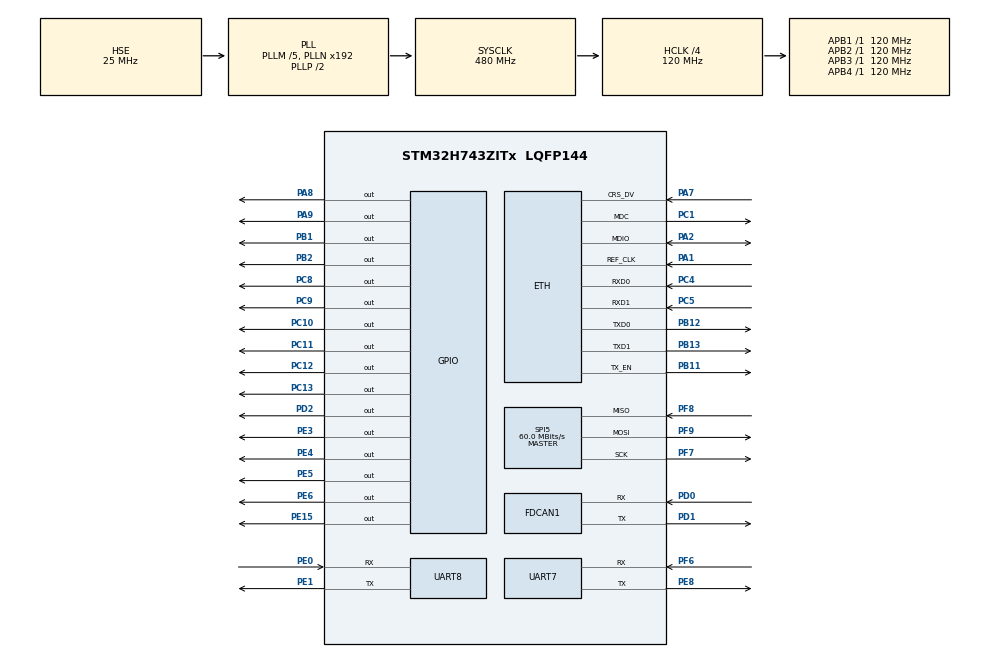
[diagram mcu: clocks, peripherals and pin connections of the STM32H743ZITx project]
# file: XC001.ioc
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CORTEX_M7.default_mode_Activation=1
ETH.MediaInterface=HAL_ETH_RMII_MODE
FDCAN1.CalculateBaudRateNominal=2500000
FDCAN1.CalculateTimeBitNominal=400
FDCAN1.CalculateTimeQuantumNominal=133.33333333333334
FREERTOS.Tasks01=defaultTask,24,2048,StartDefaultTask,Default,NULL,Dynamic,NULL,NULL
LWIP.BSP.number=1
LWIP.GATEWAY_ADDRESS=192.168.001.001
LWIP.IP_ADDRESS=192.168.001.010
LWIP.LWIP_DHCP=0
LWIP.NETMASK_ADDRESS=255.255.255.000
LWIP.Version=v2.2.1_Cube
LWIP0.BSP.STBoard=false
LWIP0.BSP.api=BSP_COMPONENT_DRIVER
LWIP0.BSP.component=LAN8742
LWIP0.BSP.instance=LAN8742
LWIP0.BSP.name=Driver_PHY
LWIP0.BSP.semaphore=S_LAN8742
LWIP0.BSP.solution=LAN8742
Mcu.Family=STM32H7
Mcu.Name=STM32H743ZITx
Mcu.Package=LQFP144
NVIC.PriorityGroup=NVIC_PRIORITYGROUP_4
PA1.Mode=RMII
PA1.Signal=ETH_REF_CLK
PA13\ (JTMS/SWDIO).Mode=Serial_Wire
PA13\ (JTMS/SWDIO).Signal=DEBUG_JTMS-SWDIO
PA14\ (JTCK/SWCLK).Mode=Serial_Wire
PA14\ (JTCK/SWCLK).Signal=DEBUG_JTCK-SWCLK
PA2.Mode=RMII
PA2.Signal=ETH_MDIO
PA7.Mode=RMII
PA7.Signal=ETH_CRS_DV
PA8.Signal=GPIO_Output
PA9.Signal=GPIO_Output
PB1.Signal=GPIO_Output
PB11.Mode=RMII
PB11.Signal=ETH_TX_EN
PB12.Mode=RMII
PB12.Signal=ETH_TXD0
PB13.Mode=RMII
PB13.Signal=ETH_TXD1
PB2.Signal=GPIO_Output
PC1.Mode=RMII
PC1.Signal=ETH_MDC
PC10.Signal=GPIO_Output
PC11.Signal=GPIO_Output
PC12.Signal=GPIO_Output
PC13.Signal=GPIO_Output
PC4.Mode=RMII
PC4.Signal=ETH_RXD0
PC5.Mode=RMII
PC5.Signal=ETH_RXD1
PC8.Signal=GPIO_Output
PC9.Signal=GPIO_Output
PD0.Mode=FDCAN_Activate
PD0.Signal=FDCAN1_RX
PD1.Mode=FDCAN_Activate
PD1.Signal=FDCAN1_TX
PD2.Signal=GPIO_Output
PE0.Mode=Asynchronous
PE0.Signal=UART8_RX
PE1.Mode=Asynchronous
PE1.Signal=UART8_TX
PE15.Signal=GPIO_Output
PE3.Signal=GPIO_Output
PE4.Signal=GPIO_Output
PE5.Signal=GPIO_Output
PE6.Signal=GPIO_Output
PE8.Mode=Asynchronous
PE8.Signal=UART7_TX
PF6.Mode=Asynchronous
PF6.Signal=UART7_RX
PF7.Mode=Full_Duplex_Master
PF7.Signal=SPI5_SCK
PF8.Mode=Full_Duplex_Master
PF8.Signal=SPI5_MISO
PF9.Mode=Full_Duplex_Master
PF9.Signal=SPI5_MOSI
PH0-OSC_IN\ (PH0).Mode=HSE-External-Oscillator
PH0-OSC_IN\ (PH0).Signal=RCC_OSC_IN
PH1-OSC_OUT\ (PH1).Mode=HSE-External-Oscillator
PH1-OSC_OUT\ (PH1).Signal=RCC_OSC_OUT
ProjectManager.HeapSize=0x1000
ProjectManager.StackSize=0x1000
ProjectManager.TargetToolchain=STM32CubeIDE
RCC.ADCFreq_Value=50390625
RCC.APB1Freq_Value=120000000
RCC.APB2Freq_Value=120000000
RCC.APB3Freq_Value=120000000
RCC.APB4Freq_Value=120000000
RCC.CortexFreq_Value=480000000
RCC.D1CPRE=RCC_SYSCLK_DIV1
RCC.DIVM1=5
RCC.DIVN1=192
RCC.DIVQ1=8
RCC.HCLKFreq_Value=120000000
RCC.HPRE=RCC_HCLK_DIV4
RCC.PLLFRACN=0
RCC.PLLSourceVirtual=RCC_PLLSOURCE_HSE
RCC.SYSCLKFreq_VALUE=480000000
RCC.SYSCLKSource=RCC_SYSCLKSOURCE_PLLCLK
RCC.USBFreq_Value=120000000
SPI5.CalculateBaudRate=60.0 MBits/s
SPI5.Direction=SPI_DIRECTION_2LINES
SPI5.DataSize=SPI_DATASIZE_8BIT
SPI5.Mode=SPI_MODE_MASTER
SPI5.VirtualType=VM_MASTER
VP_FREERTOS_VS_CMSIS_V2.Mode=CMSIS_V2
VP_LWIP_VS_Enabled.Mode=Enabled
VP_MEMORYMAP_VS_MEMORYMAP.Mode=CurAppReg
board=custom

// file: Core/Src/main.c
/* USER CODE BEGIN Header */
/**
  ******************************************************************************
  * @file           : main.c
  * @brief          : Main program body
  ******************************************************************************
  * @attention
  *
  * Copyright (c) 2026 STMicroelectronics.
  * All rights reserved.
  *
  * This software is licensed under terms that can be found in the LICENSE file
  * in the root directory of this software component.
  * If no LICENSE file comes with this software, it is provided AS-IS.
  *
  ******************************************************************************
  */
/* USER CODE END Header */
#include "main.h"
#include "FreeRTOS.h"
#include "cmsis_os2.h"
#include "fdcan.h"
#include "lwip.h"
#include "spi.h"
#include "usart.h"
#include "gpio.h"

/* USER CODE BEGIN Includes */
#include "xc001_config.h"
#include "xc001_update.h"

/* USER CODE END Includes */

void SystemClock_Config(void);
static void MPU_Config(void);
void MX_FREERTOS_Init(void);
/* USER CODE BEGIN PFP */
static void XC001_DebugAttachWindow(void);

/* USER CODE END PFP */

/* USER CODE BEGIN 0 */
static void XC001_DebugAttachWindow(void)
{
#if defined(__HAL_RCC_DBGMCU_CLK_ENABLE)
  __HAL_RCC_DBGMCU_CLK_ENABLE();
#endif
  HAL_DBGMCU_EnableDBGSleepMode();
  HAL_DBGMCU_EnableDBGStopMode();
  HAL_DBGMCU_EnableDBGStandbyMode();
#if defined(__HAL_DBGMCU_FREEZE_IWDG1)
  __HAL_DBGMCU_FREEZE_IWDG1();
#endif
#if defined(__HAL_DBGMCU_FREEZE_WWDG1)
  __HAL_DBGMCU_FREEZE_WWDG1();
#endif

#if (XC001_DEBUG_ATTACH_DELAY_MS > 0U)
  HAL_Delay(XC001_DEBUG_ATTACH_DELAY_MS);
#endif
}

static uint8_t XC001_WaitForVoltageReady(uint32_t timeout_ms)
{
  uint32_t start = HAL_GetTick();

  while (!__HAL_PWR_GET_FLAG(PWR_FLAG_VOSRDY))
  {
    if ((HAL_GetTick() - start) >= timeout_ms)
    {
      return 0U;
    }
  }
  return 1U;
}

/* USER CODE END 0 */

int main(void)
{

  /* USER CODE BEGIN 1 */
  SCB->VTOR = XC001_APPLICATION_ADDRESS;

  /* USER CODE END 1 */

  /* MPU Configuration--------------------------------------------------------*/
  MPU_Config();

  /* MCU Configuration--------------------------------------------------------*/

  /* Reset of all peripherals, Initializes the Flash interface and the Systick. */
  HAL_Init();

  /* USER CODE BEGIN Init */
  __enable_irq();
  XC001_DebugAttachWindow();
  SCB_EnableICache();
  SCB_EnableDCache();

  /* USER CODE END Init */

  /* Configure the system clock */
  SystemClock_Config();

  /* Initialize all configured peripherals */
  MX_GPIO_Init();
  MX_FDCAN1_Init();
#if (XC001_SPI5_BUS_ENABLE != 0U)
  MX_SPI5_Init();
#else
  __HAL_RCC_SPI5_CLK_DISABLE();
#endif
  MX_UART7_Init();
  MX_UART8_Init();

  /* Init scheduler */
  osKernelInitialize();  /* Call init function for freertos objects (in cmsis_os2.c) */
  MX_FREERTOS_Init();

  /* Start scheduler */
  osKernelStart();

  /* We should never get here as control is now taken by the scheduler */

  /* Infinite loop */
  while (1)
  {

  }
}

void SystemClock_Config(void)
{
  RCC_OscInitTypeDef RCC_OscInitStruct = {0};
  RCC_ClkInitTypeDef RCC_ClkInitStruct = {0};

  /** Supply configuration update enable
  */
  if (HAL_PWREx_ConfigSupply(PWR_LDO_SUPPLY) != HAL_OK)
  {
    Error_Handler();
  }

  /** Configure the main internal regulator output voltage
  */
  __HAL_PWR_VOLTAGESCALING_CONFIG(PWR_REGULATOR_VOLTAGE_SCALE0);

  if (XC001_WaitForVoltageReady(100U) == 0U)
  {
    Error_Handler();
  }

  /** Initializes the RCC Oscillators according to the specified parameters
  * in the RCC_OscInitTypeDef structure.
  */
  RCC_OscInitStruct.OscillatorType = RCC_OSCILLATORTYPE_HSE;
  RCC_OscInitStruct.HSEState = RCC_HSE_ON;
  RCC_OscInitStruct.PLL.PLLState = RCC_PLL_ON;
  RCC_OscInitStruct.PLL.PLLSource = RCC_PLLSOURCE_HSE;
  RCC_OscInitStruct.PLL.PLLM = 5;
  RCC_OscInitStruct.PLL.PLLN = 192;
  RCC_OscInitStruct.PLL.PLLP = 2;
  RCC_OscInitStruct.PLL.PLLQ = 8;
  RCC_OscInitStruct.PLL.PLLR = 2;
  RCC_OscInitStruct.PLL.PLLRGE = RCC_PLL1VCIRANGE_2;
  RCC_OscInitStruct.PLL.PLLVCOSEL = RCC_PLL1VCOWIDE;
  RCC_OscInitStruct.PLL.PLLFRACN = 0;
  if (HAL_RCC_OscConfig(&RCC_OscInitStruct) != HAL_OK)
  {
    Error_Handler();
  }

  /** Initializes the CPU, AHB and APB buses clocks
  */
  RCC_ClkInitStruct.ClockType = RCC_CLOCKTYPE_HCLK|RCC_CLOCKTYPE_SYSCLK
                              |RCC_CLOCKTYPE_PCLK1|RCC_CLOCKTYPE_PCLK2
                              |RCC_CLOCKTYPE_D3PCLK1|RCC_CLOCKTYPE_D1PCLK1;
  RCC_ClkInitStruct.SYSCLKSource = RCC_SYSCLKSOURCE_PLLCLK;
  RCC_ClkInitStruct.SYSCLKDivider = RCC_SYSCLK_DIV1;
  RCC_ClkInitStruct.AHBCLKDivider = RCC_HCLK_DIV4;
  RCC_ClkInitStruct.APB3CLKDivider = RCC_APB3_DIV1;
  RCC_ClkInitStruct.APB1CLKDivider = RCC_APB1_DIV1;
  RCC_ClkInitStruct.APB2CLKDivider = RCC_APB2_DIV1;
  RCC_ClkInitStruct.APB4CLKDivider = RCC_APB4_DIV1;

  if (HAL_RCC_ClockConfig(&RCC_ClkInitStruct, FLASH_LATENCY_1) != HAL_OK)
  {
    Error_Handler();
  }
}

 /* MPU Configuration */

void MPU_Config(void)
{
  MPU_Region_InitTypeDef MPU_InitStruct = {0};

  /* Disables the MPU */
  HAL_MPU_Disable();

  /** Initializes and configures the Region and the memory to be protected
  */
  MPU_InitStruct.Enable = MPU_REGION_ENABLE;
  MPU_InitStruct.Number = MPU_REGION_NUMBER0;
  MPU_InitStruct.BaseAddress = 0x0;
  MPU_InitStruct.Size = MPU_REGION_SIZE_4GB;
  MPU_InitStruct.SubRegionDisable = 0x87;
  MPU_InitStruct.TypeExtField = MPU_TEX_LEVEL0;
  MPU_InitStruct.AccessPermission = MPU_REGION_NO_ACCESS;
  MPU_InitStruct.DisableExec = MPU_INSTRUCTION_ACCESS_DISABLE;
  MPU_InitStruct.IsShareable = MPU_ACCESS_SHAREABLE;
  MPU_InitStruct.IsCacheable = MPU_ACCESS_NOT_CACHEABLE;
  MPU_InitStruct.IsBufferable = MPU_ACCESS_NOT_BUFFERABLE;

  HAL_MPU_ConfigRegion(&MPU_InitStruct);

  /* USER CODE BEGIN MPU_Config */
  MPU_InitStruct.Enable = MPU_REGION_ENABLE;
  MPU_InitStruct.Number = MPU_REGION_NUMBER1;
  MPU_InitStruct.BaseAddress = 0x30000000;
  MPU_InitStruct.Size = MPU_REGION_SIZE_32KB;
  MPU_InitStruct.SubRegionDisable = 0x0;
  MPU_InitStruct.TypeExtField = MPU_TEX_LEVEL1;
  MPU_InitStruct.AccessPermission = MPU_REGION_FULL_ACCESS;
  MPU_InitStruct.DisableExec = MPU_INSTRUCTION_ACCESS_ENABLE;
  MPU_InitStruct.IsShareable = MPU_ACCESS_NOT_SHAREABLE;
  MPU_InitStruct.IsCacheable = MPU_ACCESS_NOT_CACHEABLE;
  MPU_InitStruct.IsBufferable = MPU_ACCESS_NOT_BUFFERABLE;
  HAL_MPU_ConfigRegion(&MPU_InitStruct);
  /* USER CODE END MPU_Config */

  /* Enables the MPU */
  HAL_MPU_Enable(MPU_PRIVILEGED_DEFAULT);

}

void Error_Handler(void)
{
  /* USER CODE BEGIN Error_Handler_Debug */
  /* User can add his own implementation to report the HAL error return state */
  RCC->AHB4ENR |= RCC_AHB4ENR_GPIOBEN;
  (void)RCC->AHB4ENR;
  GPIOB->MODER = (GPIOB->MODER & ~(3UL << (2U * 2U))) | (1UL << (2U * 2U));
  GPIOB->OTYPER &= ~(1UL << 2U);
  GPIOB->OSPEEDR &= ~(3UL << (2U * 2U));
  GPIOB->PUPDR &= ~(3UL << (2U * 2U));
  GPIOB->BSRR = (1UL << (2U + 16U));
  const uint8_t msg[] = "\r\n[ERROR] Error_Handler entered\r\n";
  if (huart7.Instance == UART7)
  {
    (void)HAL_UART_Transmit(&huart7, (uint8_t *)msg, sizeof(msg) - 1U, 100);
  }
  __disable_irq();
  while (1)
  {
    for (volatile uint32_t i = 0U; i < 300000UL; i++)
    {
      __NOP();
    }
    GPIOB->ODR ^= GPIO_PIN_2;
  }
  /* USER CODE END Error_Handler_Debug */
}

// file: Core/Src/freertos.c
/* USER CODE BEGIN Header */
/**
  ******************************************************************************
  * File Name          : freertos.c
  * Description        : Code for freertos applications
  ******************************************************************************
  * @attention
  *
  * Copyright (c) 2026 STMicroelectronics.
  * All rights reserved.
  *
  * This software is licensed under terms that can be found in the LICENSE file
  * in the root directory of this software component.
  * If no LICENSE file comes with this software, it is provided AS-IS.
  *
  ******************************************************************************
  */
/* USER CODE END Header */

#include "FreeRTOS.h"
#include "task.h"
#include "main.h"
#include "FreeRTOS.h"
#include "cmsis_os2.h"

/* USER CODE BEGIN Includes */
#include "xc001_app.h"
#include "usart.h"
#include <string.h>

/* USER CODE END Includes */

/* Definitions for defaultTask */
osThreadId_t defaultTaskHandle;
const osThreadAttr_t defaultTask_attributes = {
  .name = "defaultTask",
  .stack_size = 2048 * 4,
  .priority = (osPriority_t) osPriorityNormal,
};

void StartDefaultTask(void *argument);

extern void MX_LWIP_Init(void);
void MX_FREERTOS_Init(void); /* (MISRA C 2004 rule 8.1) */

void MX_FREERTOS_Init(void) {

  /* Create the thread(s) */
  /* creation of defaultTask */
  defaultTaskHandle = osThreadNew(StartDefaultTask, NULL, &defaultTask_attributes);

}

void StartDefaultTask(void *argument)
{
  /* USER CODE BEGIN StartDefaultTask_Init */
  XC001_APP_PreLwipInit();
  /* USER CODE END StartDefaultTask_Init */

  /* init code for LWIP */
  MX_LWIP_Init();
  /* USER CODE BEGIN StartDefaultTask */
  XC001_APP_Init();
  /* Infinite loop */
  for(;;)
  {
    XC001_APP_Task();
    osDelay(1);
  }
  /* USER CODE END StartDefaultTask */
}

/* USER CODE BEGIN Application */
void vApplicationIdleHook(void)
{
  __DSB();
  __WFI();
  __ISB();
}

void vApplicationMallocFailedHook(void)
{
  const uint8_t msg[] = "\r\n[RTOS] Malloc failed\r\n";
  HAL_UART_Transmit(&huart7, (uint8_t *)msg, sizeof(msg) - 1U, 100);
  taskDISABLE_INTERRUPTS();
  for (;;)
  {
  }
}

void vApplicationStackOverflowHook(TaskHandle_t xTask, char *pcTaskName)
{
  (void)xTask;
  const uint8_t msg[] = "\r\n[RTOS] Stack overflow: ";
  HAL_UART_Transmit(&huart7, (uint8_t *)msg, sizeof(msg) - 1U, 100);
  if (pcTaskName != 0)
  {
    HAL_UART_Transmit(&huart7, (uint8_t *)pcTaskName, (uint16_t)strlen(pcTaskName), 100);
  }
  HAL_UART_Transmit(&huart7, (uint8_t *)"\r\n", 2, 100);
  taskDISABLE_INTERRUPTS();
  for (;;)
  {
  }
}

/* USER CODE END Application */
